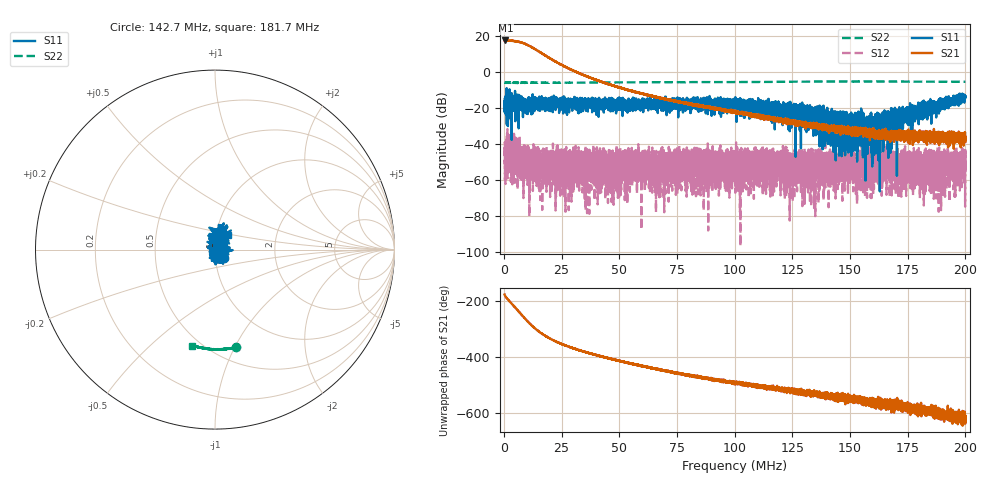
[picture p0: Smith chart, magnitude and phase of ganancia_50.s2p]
# Hz S DB R 50
! CMT, M5065, 19127446, 24.2.4/2
! Date: 11/8/2024 4:14:17 PM
! Data: Format (Calibration Info)
! Freq	S11:dB/Ang(F2)	S21:dB/Ang(F2)	S12:dB/Ang(F2)	S22:dB/Ang(F2)
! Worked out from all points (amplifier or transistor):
!   9000 points, 300 kHz to 200 MHz, reference 50 ohm
!   highest |S21| = 17.8 dB at 655.1 kHz (marker M1)
!   |S21| within 3 dB of that: start of sweep to 10.95 MHz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
!   unconditionally stable (mu >= 1): start of sweep to end of sweep
!   at 33.59 MHz: K = 101.46, MAG = 0.5 dB, |S12| = -48.1 dB
!   at 100.2 MHz: K = 3196.91, MAG = -20.7 dB, |S12| = -57.0 dB
!   at 200 MHz: K = 6185.40, MAG = -36.9 dB, |S12| = -46.7 dB
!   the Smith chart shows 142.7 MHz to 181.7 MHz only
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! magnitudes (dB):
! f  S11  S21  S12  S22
! 300 kHz  -18.7  17.8  -41.7  -5.8
! 655.1 kHz  -22.9  17.8  -46.8  -5.8
! 10.51 MHz  -14.2  15.1  -43.3  -5.8
! 33.59 MHz  -16.1  -1.0  -48.1  -5.7
! 53.09 MHz  -18.3  -9.6  -49.8  -5.6
! 56.04 MHz  -16.1  -10.6  -55.6  -5.6
! 59.13 MHz  -20.2  -11.7  -47.1  -5.5
! 62.28 MHz  -16.6  -12.7  -47.1  -5.5
! 66.87 MHz  -17.3  -13.9  -51.2  -5.5
! 68.36 MHz  -18.1  -14.5  -42.6  -5.5
! 70.45 MHz  -17.1  -15.1  -51.3  -5.5
! 100.2 MHz  -18.0  -22.2  -57.0  -5.4
! 133.4 MHz  -20.4  -29.2  -51.6  -5.2
! 146 MHz  -23.1  -31.7  -49.2  -5.1
! 154.5 MHz  -28.8  -34.4  -54.0  -5.1
! 156.8 MHz  -36.2  -33.7  -56.0  -5.1
! 166.7 MHz  -26.5  -36.4  -44.6  -5.1
! 181.2 MHz  -21.2  -35.8  -55.9  -5.2
! 183.4 MHz  -22.0  -34.5  -50.2  -5.2
! 186.1 MHz  -19.3  -33.7  -56.5  -5.2
! 197.6 MHz  -15.4  -39.5  -60.3  -5.2
! 200 MHz  -13.6  -38.6  -46.7  -5.3
